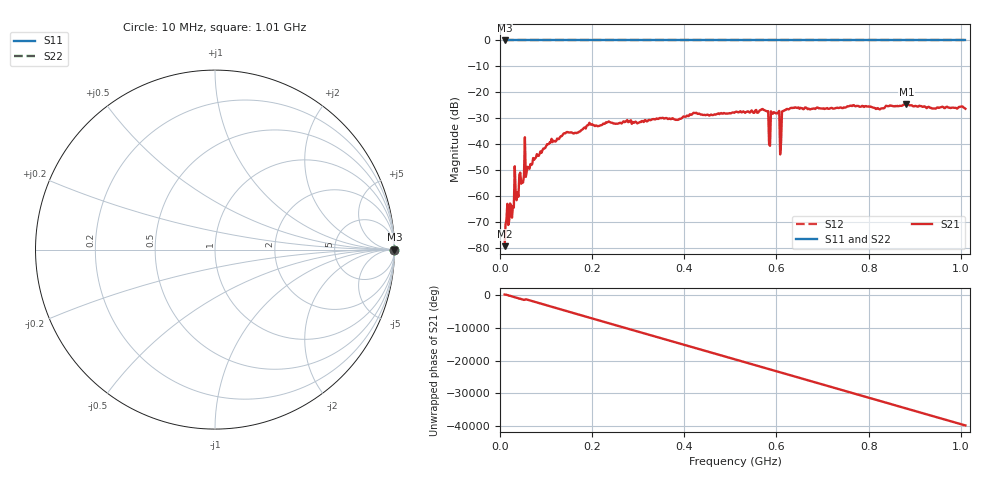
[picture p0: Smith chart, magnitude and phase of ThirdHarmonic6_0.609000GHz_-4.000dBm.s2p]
! 8/15/2025 7:56:13 PM
! C:\ANRITSUVNA\TEMP\TEMP.S2P
! CHANNEL.1
! TR.MEASUREMENT
! RAW.DATA
! RF.CORRECTION.OFF
! AVERAGING.OFF
! IF.BANDWIDTH: 5KHZ
! SWEEPTYPE:  FREQ.SWEEP(Linear)
! Reference Plane Port Info
! PORT:  PORT1  PORT2
! DISTANCE:  0  m  0  m
! TIME:  0  s  0  s
! PHASE.OFFSET:  0  deg.  0  deg.
! LOSS:  0  dB  0  dB
! REF.LOSS:  0  dB  0  dB
! REF.FREQ:  0  Hz  0  Hz
! Power Info
! POWER:  -20  dBm  -20  dBm
! EFF.POWER:  -20  dBm  -20  dBm
! SOURCE.ATTEN:  0  dB  0  dB
! TEST.ATTEN:  0  dB  0  dB
# GHZ S RI R 50.0
! FREQ.GHZ  S11RE  S11IM  S21RE  S21IM  S12RE  S12IM  S22RE  S22IM
!; PortSelection: Port_12
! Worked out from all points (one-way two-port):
!   501 points, 10 MHz to 1.01 GHz, reference 50 ohm
!   highest |S21| = -24.47 dB at 882 MHz (marker M1); lowest = -79.2 dB at 10 MHz (marker M2)
!   lowest |S11| = 0.0 dB at 10 MHz (marker M3)
!   |S11| at or under -10 dB: nowhere
!   |S22| runs from 0.0 to 0.0 dB; largest |S21 - S12| = 1.1
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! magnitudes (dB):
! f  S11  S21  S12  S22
! 10 MHz  0.0  -79.2  0.0  0.0
! 18 MHz  0.0  -71.0  0.0  0.0
! 22 MHz  0.0  -62.8  0.0  0.0
! 32 MHz  0.0  -48.4  0.0  0.0
! 58 MHz  0.0  -50.4  0.0  0.0
! 60 MHz  0.0  -48.6  0.0  0.0
! 108 MHz  0.0  -39.2  0.0  0.0
! 178 MHz  0.0  -34.4  0.0  0.0
! 344 MHz  0.0  -30.2  0.0  0.0
! 510 MHz  0.0  -27.6  0.0  0.0
! 572 MHz  0.0  -26.7  0.0  0.0
! 582 MHz  0.0  -27.2  0.0  0.0
! 588 MHz  0.0  -27.3  0.0  0.0
! 592 MHz  0.0  -28.2  0.0  0.0
! 602 MHz  0.0  -28.1  0.0  0.0
! 606 MHz  0.0  -27.1  0.0  0.0
! 612 MHz  0.0  -27.4  0.0  0.0
! 618 MHz  0.0  -26.8  0.0  0.0
! 678 MHz  0.0  -26.3  0.0  0.0
! 844 MHz  0.0  -25.3  0.0  0.0
! 882 MHz  0.0  -24.5  0.0  0.0
! 1.01 GHz  0.0  -26.3  0.0  0.0
